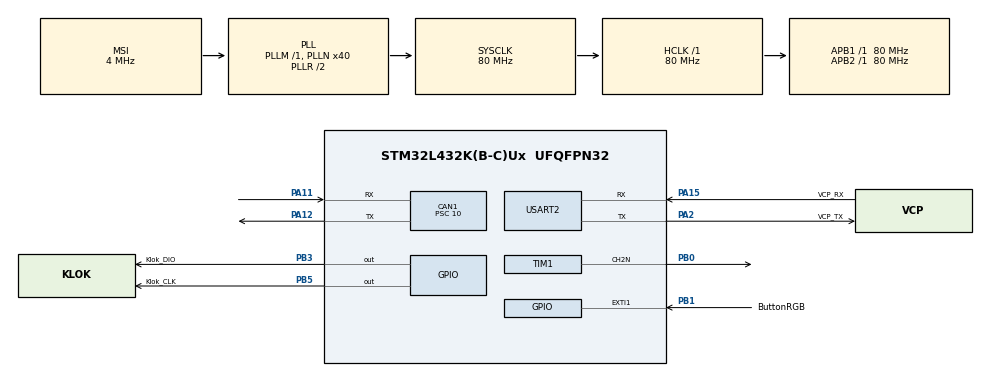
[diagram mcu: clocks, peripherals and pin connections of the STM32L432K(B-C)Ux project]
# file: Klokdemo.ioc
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CAN1.ABOM=DISABLE
CAN1.BS1=CAN_BS1_13TQ
CAN1.BS2=CAN_BS2_2TQ
CAN1.CalculateBaudRate=500000
CAN1.CalculateTimeBit=2000
CAN1.CalculateTimeQuantum=125.0
CAN1.NART=ENABLE
CAN1.Prescaler=10
Mcu.Family=STM32L4
Mcu.Name=STM32L432K(B-C)Ux
Mcu.Package=UFQFPN32
NVIC.CAN1_RX0_IRQn=true\:0\:0\:false\:false\:true\:true\:true\:true
NVIC.EXTI1_IRQn=true\:0\:0\:false\:false\:true\:true\:true\:true
NVIC.PriorityGroup=NVIC_PRIORITYGROUP_4
NVIC.TIM6_DAC_IRQn=true\:0\:0\:false\:false\:true\:true\:true\:true
PA11.GPIO_PuPd=GPIO_NOPULL
PA11.Mode=CAN_Activate
PA11.Signal=CAN1_RX
PA12.Mode=CAN_Activate
PA12.Signal=CAN1_TX
PA13\ (JTMS-SWDIO).GPIO_Label=SWDIO
PA13\ (JTMS-SWDIO).Mode=Serial_Wire
PA13\ (JTMS-SWDIO).Signal=SYS_JTMS-SWDIO
PA14\ (JTCK-SWCLK).GPIO_Label=SWCLK
PA14\ (JTCK-SWCLK).Mode=Serial_Wire
PA14\ (JTCK-SWCLK).Signal=SYS_JTCK-SWCLK
PA15\ (JTDI).GPIO_Label=VCP_RX
PA15\ (JTDI).Mode=Asynchronous
PA15\ (JTDI).Signal=USART2_RX
PA2.GPIO_Label=VCP_TX
PA2.Mode=Asynchronous
PA2.Signal=USART2_TX
PB0.Mode=Output Compare2 CH2N
PB0.Signal=TIM1_CH2N
PB1.GPIO_Label=ButtonRGB
PB1.GPIO_ModeDefaultEXTI=GPIO_MODE_IT_FALLING
PB1.GPIO_PuPd=GPIO_PULLUP
PB1.Signal=GPXTI1
PB3\ (JTDO-TRACESWO).GPIO_Label=Klok_DIO
PB3\ (JTDO-TRACESWO).Signal=GPIO_Output
PB5.GPIO_Label=Klok_CLK
PB5.Signal=GPIO_Output
PC14-OSC32_IN\ (PC14).Mode=LSE-External-Oscillator
PC14-OSC32_IN\ (PC14).Signal=RCC_OSC32_IN
PC15-OSC32_OUT\ (PC15).Mode=LSE-External-Oscillator
PC15-OSC32_OUT\ (PC15).Signal=RCC_OSC32_OUT
ProjectManager.HeapSize=0x200
ProjectManager.StackSize=0x400
ProjectManager.TargetToolchain=STM32CubeIDE
RCC.AHBFreq_Value=80000000
RCC.APB1Freq_Value=80000000
RCC.APB1TimFreq_Value=80000000
RCC.APB2Freq_Value=80000000
RCC.APB2TimFreq_Value=80000000
RCC.CortexFreq_Value=80000000
RCC.HCLKFreq_Value=80000000
RCC.HSE_VALUE=8000000
RCC.HSI16_VALUE=16000000
RCC.HSI48_VALUE=48000000
RCC.HSI_VALUE=16000000
RCC.MSI_VALUE=4000000
RCC.PLLMUL=RCC_PLLMUL_4
RCC.PLLN=40
RCC.SYSCLKFreq_VALUE=80000000
RCC.SYSCLKSource=RCC_SYSCLKSOURCE_PLLCLK
RCC.VCOOutputFreq_Value=160000000
TIM1.Channel-Output\ Compare2\ CH2N=TIM_CHANNEL_2
TIM1.OC2Preload=ENABLE
TIM1.OCMode_2=TIM_OCMODE_TOGGLE
TIM1.Period=5000-1
TIM1.Prescaler=1
TIM6.Period=5000
TIM6.Prescaler=7200-1
USART2.VirtualMode-Asynchronous=VM_ASYNC
VP_RTC_VS_RTC_Activate.Mode=RTC_Enabled
VP_RTC_VS_RTC_Calendar.Mode=RTC_Calendar
VP_TIM1_VS_ClockSourceINT.Mode=Internal
VP_TIM6_VS_ClockSourceINT.Mode=Enable_Timer
board=NUCLEO-L432KC

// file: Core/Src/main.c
/* USER CODE BEGIN Header */
/**
 ******************************************************************************
 * @file           : main.c
 * @brief          : Main program body
 ******************************************************************************
 * @attention
 *
 * Copyright (c) 2026 STMicroelectronics.
 * All rights reserved.
 *
 * This software is licensed under terms that can be found in the LICENSE file
 * in the root directory of this software component.
 * If no LICENSE file comes with this software, it is provided AS-IS.
 *
 ******************************************************************************
 */
/* USER CODE END Header */
#include "main.h"

/* USER CODE BEGIN Includes */
#include "stm32_tm1637.h"
#include <stdio.h>
#include <string.h>

/* USER CODE END Includes */

/* USER CODE BEGIN PD */
#define KLOK_FREQ 32000000
#define NOTE_E 329.63
#define NOTE_A 440
#define NOTE_Fs 370
#define TIJDSDUUR1 100
#define TIJDSDUUR2 150
#define TIJDSDUUR3 200

//E (150)->A (150)->Fis(100)->Stilte(200)

/* USER CODE END PD */

CAN_HandleTypeDef hcan1;

RTC_HandleTypeDef hrtc;

TIM_HandleTypeDef htim1;
TIM_HandleTypeDef htim6;

UART_HandleTypeDef huart2;

/* USER CODE BEGIN PV */
uint8_t state = 0;
CAN_RxHeaderTypeDef rxHeader;
uint8_t rxData[8];
volatile int datacheck = 0;

CAN_TxHeaderTypeDef header; //tx
uint32_t txMailbox;
uint8_t txData[8];
uint32_t mailbox;
uint8_t data[2];

uint8_t showColon = 1;
volatile int displayValue = 8888;
/* USER CODE END PV */

void SystemClock_Config(void);
static void MX_GPIO_Init(void);
static void MX_USART2_UART_Init(void);
static void MX_RTC_Init(void);
static void MX_TIM6_Init(void);
static void MX_CAN1_Init(void);
static void MX_TIM1_Init(void);
/* USER CODE BEGIN PFP */
void speelNoot(double freq, int d);
/* USER CODE END PFP */

int main(void)
{

  /* MCU Configuration--------------------------------------------------------*/

  /* Reset of all peripherals, Initializes the Flash interface and the Systick. */
  HAL_Init();

  /* Configure the system clock */
  SystemClock_Config();

  /* Initialize all configured peripherals */
  MX_GPIO_Init();
  MX_USART2_UART_Init();
  MX_RTC_Init();
  MX_TIM6_Init();
  MX_CAN1_Init();
  MX_TIM1_Init();
  /* USER CODE BEGIN 2 */
	//tm1637Init(); //DO NOT UNCOMMENT, THIS WILL BREAK THE CLOCK
	tm1637SetBrightness(8); //DO NOT THINK ABOUT IT

	HAL_TIM_Base_Start_IT(&htim6);

	CAN_FilterTypeDef filter;

	filter.FilterBank = 0;
	filter.FilterMode = CAN_FILTERMODE_IDMASK;
	filter.FilterScale = CAN_FILTERSCALE_32BIT;
	filter.FilterIdHigh = 0;
	filter.FilterIdLow = 0;
	filter.FilterMaskIdHigh = 0;
	filter.FilterMaskIdLow = 0;
	filter.FilterFIFOAssignment = CAN_FILTER_FIFO0;
	filter.FilterActivation = ENABLE;

	HAL_CAN_ConfigFilter(&hcan1, &filter);
	HAL_CAN_Start(&hcan1);
	if (HAL_CAN_ActivateNotification(&hcan1, CAN_IT_RX_FIFO0_MSG_PENDING)
			!= HAL_OK) {
		Error_Handler();
	}
	HAL_TIMEx_PWMN_Start(&htim1, TIM_CHANNEL_2);
	__HAL_TIM_SET_AUTORELOAD(&htim1, 0);

	  HAL_UART_Transmit(&huart2, "Voor while", 10, HAL_MAX_DELAY);

	  	    header.StdId = 430;
	  	    header.IDE = CAN_ID_STD;
	  	    header.RTR = CAN_RTR_DATA;
	  	    header.DLC = 2;
	  	  data[0] = 0x11;
	  	  data[1] = 0x12;

	  	/*HAL_Delay(1000);
	  	HAL_CAN_Stop(&hcan1);
	  	HAL_Delay(1000);
	  	HAL_CAN_DeInit(&hcan1);
	  	HAL_Delay(1000);
	  	__HAL_RCC_CAN1_FORCE_RESET();
	  	HAL_Delay(1000);
	  	__HAL_RCC_CAN1_RELEASE_RESET();
	  	HAL_Delay(1000);
	  	HAL_CAN_Init(&hcan1);
	  	HAL_Delay(1000);
	  	HAL_CAN_Start(&hcan1);
	  	HAL_Delay(1000);*/
  /* USER CODE END 2 */

  /* Infinite loop */
  /* USER CODE BEGIN WHILE */
	while (1) {
		/*uint32_t esr = hcan1.Instance->ESR;

		uint8_t tec = (esr >> 16) & 0xFF;  // Transmit Error Counter
		uint8_t rec = (esr >> 24) & 0xFF;  // Receive Error Counter

		char msg[20] = "";
		sprintf(msg, "%d\r\n", tec);

		HAL_UART_Transmit(&huart2, msg, strlen(msg), HAL_MAX_DELAY);

		HAL_UART_Transmit(&huart2, "Button ingedrukt\r\n", 18, HAL_MAX_DELAY);
		            if (HAL_CAN_GetTxMailboxesFreeLevel(&hcan1) > 0) {
		                if (HAL_CAN_AddTxMessage(&hcan1, &header, data, &mailbox) != HAL_OK) {
		                    Error_Handler();
		                } else {
		                    char msg[] = "CAN verstuurd!\r\n";
		                    HAL_UART_Transmit(&huart2, (uint8_t*)msg, strlen(msg), HAL_MAX_DELAY);
		                }
		            } else {
		                HAL_UART_Transmit(&huart2, "Mailbox vol!\r\n", 14, HAL_MAX_DELAY);
		            }*/
		// = 6660;
		//tm1637DisplayDecimal(displayValue, showColon);
		//showColon = !showColon;
		HAL_Delay(500);
    /* USER CODE END WHILE */

    /* USER CODE BEGIN 3 */
		RTC_TimeTypeDef nowTime;
		RTC_DateTypeDef nowDate;

		HAL_RTC_GetTime(&hrtc, &nowTime, RTC_FORMAT_BIN);
		HAL_RTC_GetDate(&hrtc, &nowDate, RTC_FORMAT_BIN);

		int hours = nowTime.Hours;
		int minutes = nowTime.Minutes;
		displayValue = hours * 100 + minutes;

		char msg[20] = "";
		sprintf(msg, "%d\r\n", displayValue);

		HAL_UART_Transmit(&huart2, msg, strlen(msg), HAL_MAX_DELAY);
		tm1637DisplayDecimal(displayValue, showColon);

		showColon = !showColon;
    //comment

		if (datacheck) {
			datacheck = 0;
			if (rxHeader.StdId == 410) {//Klok
				RTC_TimeTypeDef setTime = {0};

				setTime.Hours   = rxData[0];
				setTime.Minutes = rxData[1];
				setTime.Seconds = 0;

				if (HAL_RTC_SetTime(&hrtc, &setTime, RTC_FORMAT_BIN) != HAL_OK)
				{
				    Error_Handler();
				}
			} else if(rxHeader.StdId == 420) {//buzzer
				  speelNoot(NOTE_E,TIJDSDUUR2);
				  HAL_Delay(TIJDSDUUR3);
				  speelNoot(NOTE_A,TIJDSDUUR2);
				  HAL_Delay(TIJDSDUUR3);
				  speelNoot(NOTE_Fs,TIJDSDUUR1);
				  speelNoot(NOTE_E,TIJDSDUUR2);
				  HAL_Delay(TIJDSDUUR3);
				  speelNoot(NOTE_A,TIJDSDUUR2);
				  HAL_Delay(TIJDSDUUR3);
				  speelNoot(NOTE_Fs,TIJDSDUUR1);
				  speelNoot(NOTE_E,TIJDSDUUR2);
				  HAL_Delay(TIJDSDUUR3);
				  speelNoot(NOTE_A,TIJDSDUUR2);
				  HAL_Delay(TIJDSDUUR3);
				  speelNoot(NOTE_Fs,TIJDSDUUR1);
				  speelNoot(NOTE_E,TIJDSDUUR2);
				  HAL_Delay(TIJDSDUUR3);
				  speelNoot(NOTE_A,TIJDSDUUR2);
				  HAL_Delay(TIJDSDUUR3);
				  speelNoot(NOTE_Fs,TIJDSDUUR1);

			}
		}
	}
  /* USER CODE END 3 */
}

void SystemClock_Config(void)
{
  RCC_OscInitTypeDef RCC_OscInitStruct = {0};
  RCC_ClkInitTypeDef RCC_ClkInitStruct = {0};

  /** Configure the main internal regulator output voltage
  */
  if (HAL_PWREx_ControlVoltageScaling(PWR_REGULATOR_VOLTAGE_SCALE1) != HAL_OK)
  {
    Error_Handler();
  }

  /** Configure LSE Drive Capability
  */
  HAL_PWR_EnableBkUpAccess();
  __HAL_RCC_LSEDRIVE_CONFIG(RCC_LSEDRIVE_LOW);

  /** Initializes the RCC Oscillators according to the specified parameters
  * in the RCC_OscInitTypeDef structure.
  */
  RCC_OscInitStruct.OscillatorType = RCC_OSCILLATORTYPE_LSI|RCC_OSCILLATORTYPE_LSE
                              |RCC_OSCILLATORTYPE_MSI;
  RCC_OscInitStruct.LSEState = RCC_LSE_ON;
  RCC_OscInitStruct.LSIState = RCC_LSI_ON;
  RCC_OscInitStruct.MSIState = RCC_MSI_ON;
  RCC_OscInitStruct.MSICalibrationValue = 0;
  RCC_OscInitStruct.MSIClockRange = RCC_MSIRANGE_6;
  RCC_OscInitStruct.PLL.PLLState = RCC_PLL_ON;
  RCC_OscInitStruct.PLL.PLLSource = RCC_PLLSOURCE_MSI;
  RCC_OscInitStruct.PLL.PLLM = 1;
  RCC_OscInitStruct.PLL.PLLN = 40;
  RCC_OscInitStruct.PLL.PLLP = RCC_PLLP_DIV7;
  RCC_OscInitStruct.PLL.PLLQ = RCC_PLLQ_DIV2;
  RCC_OscInitStruct.PLL.PLLR = RCC_PLLR_DIV2;
  if (HAL_RCC_OscConfig(&RCC_OscInitStruct) != HAL_OK)
  {
    Error_Handler();
  }

  /** Initializes the CPU, AHB and APB buses clocks
  */
  RCC_ClkInitStruct.ClockType = RCC_CLOCKTYPE_HCLK|RCC_CLOCKTYPE_SYSCLK
                              |RCC_CLOCKTYPE_PCLK1|RCC_CLOCKTYPE_PCLK2;
  RCC_ClkInitStruct.SYSCLKSource = RCC_SYSCLKSOURCE_PLLCLK;
  RCC_ClkInitStruct.AHBCLKDivider = RCC_SYSCLK_DIV1;
  RCC_ClkInitStruct.APB1CLKDivider = RCC_HCLK_DIV1;
  RCC_ClkInitStruct.APB2CLKDivider = RCC_HCLK_DIV1;

  if (HAL_RCC_ClockConfig(&RCC_ClkInitStruct, FLASH_LATENCY_4) != HAL_OK)
  {
    Error_Handler();
  }

  /** Enable MSI Auto calibration
  */
  HAL_RCCEx_EnableMSIPLLMode();
}

static void MX_CAN1_Init(void)
{

  hcan1.Instance = CAN1;
  hcan1.Init.Prescaler = 10;
  hcan1.Init.Mode = CAN_MODE_NORMAL;
  hcan1.Init.SyncJumpWidth = CAN_SJW_1TQ;
  hcan1.Init.TimeSeg1 = CAN_BS1_13TQ;
  hcan1.Init.TimeSeg2 = CAN_BS2_2TQ;
  hcan1.Init.TimeTriggeredMode = DISABLE;
  hcan1.Init.AutoBusOff = DISABLE;
  hcan1.Init.AutoWakeUp = DISABLE;
  hcan1.Init.AutoRetransmission = ENABLE;
  hcan1.Init.ReceiveFifoLocked = DISABLE;
  hcan1.Init.TransmitFifoPriority = DISABLE;
  if (HAL_CAN_Init(&hcan1) != HAL_OK)
  {
    Error_Handler();
  }

}

static void MX_RTC_Init(void)
{

  RTC_TimeTypeDef sTime = {0};
  RTC_DateTypeDef sDate = {0};

  /** Initialize RTC Only
  */
  hrtc.Instance = RTC;
  hrtc.Init.HourFormat = RTC_HOURFORMAT_24;
  hrtc.Init.AsynchPrediv = 127;
  hrtc.Init.SynchPrediv = 255;
  hrtc.Init.OutPut = RTC_OUTPUT_DISABLE;
  hrtc.Init.OutPutRemap = RTC_OUTPUT_REMAP_NONE;
  hrtc.Init.OutPutPolarity = RTC_OUTPUT_POLARITY_HIGH;
  hrtc.Init.OutPutType = RTC_OUTPUT_TYPE_OPENDRAIN;
  if (HAL_RTC_Init(&hrtc) != HAL_OK)
  {
    Error_Handler();
  }

  /** Initialize RTC and set the Time and Date
  */
  sTime.Hours = 0x0;
  sTime.Minutes = 0x0;
  sTime.Seconds = 0x0;
  sTime.DayLightSaving = RTC_DAYLIGHTSAVING_NONE;
  sTime.StoreOperation = RTC_STOREOPERATION_RESET;
  if (HAL_RTC_SetTime(&hrtc, &sTime, RTC_FORMAT_BCD) != HAL_OK)
  {
    Error_Handler();
  }
  sDate.WeekDay = RTC_WEEKDAY_MONDAY;
  sDate.Month = RTC_MONTH_JANUARY;
  sDate.Date = 0x1;
  sDate.Year = 0x0;

  if (HAL_RTC_SetDate(&hrtc, &sDate, RTC_FORMAT_BCD) != HAL_OK)
  {
    Error_Handler();
  }

}

static void MX_TIM1_Init(void)
{

  TIM_ClockConfigTypeDef sClockSourceConfig = {0};
  TIM_MasterConfigTypeDef sMasterConfig = {0};
  TIM_OC_InitTypeDef sConfigOC = {0};
  TIM_BreakDeadTimeConfigTypeDef sBreakDeadTimeConfig = {0};

  htim1.Instance = TIM1;
  htim1.Init.Prescaler = 1;
  htim1.Init.CounterMode = TIM_COUNTERMODE_UP;
  htim1.Init.Period = 5000-1;
  htim1.Init.ClockDivision = TIM_CLOCKDIVISION_DIV1;
  htim1.Init.RepetitionCounter = 0;
  htim1.Init.AutoReloadPreload = TIM_AUTORELOAD_PRELOAD_DISABLE;
  if (HAL_TIM_Base_Init(&htim1) != HAL_OK)
  {
    Error_Handler();
  }
  sClockSourceConfig.ClockSource = TIM_CLOCKSOURCE_INTERNAL;
  if (HAL_TIM_ConfigClockSource(&htim1, &sClockSourceConfig) != HAL_OK)
  {
    Error_Handler();
  }
  if (HAL_TIM_OC_Init(&htim1) != HAL_OK)
  {
    Error_Handler();
  }
  sMasterConfig.MasterOutputTrigger = TIM_TRGO_RESET;
  sMasterConfig.MasterOutputTrigger2 = TIM_TRGO2_RESET;
  sMasterConfig.MasterSlaveMode = TIM_MASTERSLAVEMODE_DISABLE;
  if (HAL_TIMEx_MasterConfigSynchronization(&htim1, &sMasterConfig) != HAL_OK)
  {
    Error_Handler();
  }
  sConfigOC.OCMode = TIM_OCMODE_TOGGLE;
  sConfigOC.Pulse = 0;
  sConfigOC.OCPolarity = TIM_OCPOLARITY_HIGH;
  sConfigOC.OCNPolarity = TIM_OCNPOLARITY_HIGH;
  sConfigOC.OCFastMode = TIM_OCFAST_DISABLE;
  sConfigOC.OCIdleState = TIM_OCIDLESTATE_RESET;
  sConfigOC.OCNIdleState = TIM_OCNIDLESTATE_RESET;
  if (HAL_TIM_OC_ConfigChannel(&htim1, &sConfigOC, TIM_CHANNEL_2) != HAL_OK)
  {
    Error_Handler();
  }
  __HAL_TIM_ENABLE_OCxPRELOAD(&htim1, TIM_CHANNEL_2);
  sBreakDeadTimeConfig.OffStateRunMode = TIM_OSSR_DISABLE;
  sBreakDeadTimeConfig.OffStateIDLEMode = TIM_OSSI_DISABLE;
  sBreakDeadTimeConfig.LockLevel = TIM_LOCKLEVEL_OFF;
  sBreakDeadTimeConfig.DeadTime = 0;
  sBreakDeadTimeConfig.BreakState = TIM_BREAK_DISABLE;
  sBreakDeadTimeConfig.BreakPolarity = TIM_BREAKPOLARITY_HIGH;
  sBreakDeadTimeConfig.BreakFilter = 0;
  sBreakDeadTimeConfig.Break2State = TIM_BREAK2_DISABLE;
  sBreakDeadTimeConfig.Break2Polarity = TIM_BREAK2POLARITY_HIGH;
  sBreakDeadTimeConfig.Break2Filter = 0;
  sBreakDeadTimeConfig.AutomaticOutput = TIM_AUTOMATICOUTPUT_DISABLE;
  if (HAL_TIMEx_ConfigBreakDeadTime(&htim1, &sBreakDeadTimeConfig) != HAL_OK)
  {
    Error_Handler();
  }
  HAL_TIM_MspPostInit(&htim1);

}

static void MX_TIM6_Init(void)
{

  TIM_MasterConfigTypeDef sMasterConfig = {0};

  htim6.Instance = TIM6;
  htim6.Init.Prescaler = 7200-1;
  htim6.Init.CounterMode = TIM_COUNTERMODE_UP;
  htim6.Init.Period = 5000;
  htim6.Init.AutoReloadPreload = TIM_AUTORELOAD_PRELOAD_DISABLE;
  if (HAL_TIM_Base_Init(&htim6) != HAL_OK)
  {
    Error_Handler();
  }
  sMasterConfig.MasterOutputTrigger = TIM_TRGO_RESET;
  sMasterConfig.MasterSlaveMode = TIM_MASTERSLAVEMODE_DISABLE;
  if (HAL_TIMEx_MasterConfigSynchronization(&htim6, &sMasterConfig) != HAL_OK)
  {
    Error_Handler();
  }

}

static void MX_USART2_UART_Init(void)
{

  huart2.Instance = USART2;
  huart2.Init.BaudRate = 115200;
  huart2.Init.WordLength = UART_WORDLENGTH_8B;
  huart2.Init.StopBits = UART_STOPBITS_1;
  huart2.Init.Parity = UART_PARITY_NONE;
  huart2.Init.Mode = UART_MODE_TX_RX;
  huart2.Init.HwFlowCtl = UART_HWCONTROL_NONE;
  huart2.Init.OverSampling = UART_OVERSAMPLING_16;
  huart2.Init.OneBitSampling = UART_ONE_BIT_SAMPLE_DISABLE;
  huart2.AdvancedInit.AdvFeatureInit = UART_ADVFEATURE_NO_INIT;
  if (HAL_UART_Init(&huart2) != HAL_OK)
  {
    Error_Handler();
  }

}

static void MX_GPIO_Init(void)
{
  GPIO_InitTypeDef GPIO_InitStruct = {0};

  /* GPIO Ports Clock Enable */
  __HAL_RCC_GPIOC_CLK_ENABLE();
  __HAL_RCC_GPIOA_CLK_ENABLE();
  __HAL_RCC_GPIOB_CLK_ENABLE();

  /*Configure GPIO pin Output Level */
  HAL_GPIO_WritePin(GPIOB, Klok_DIO_Pin|Klok_CLK_Pin, GPIO_PIN_RESET);

  /*Configure GPIO pin : ButtonRGB_Pin */
  GPIO_InitStruct.Pin = ButtonRGB_Pin;
  GPIO_InitStruct.Mode = GPIO_MODE_IT_FALLING;
  GPIO_InitStruct.Pull = GPIO_PULLUP;
  HAL_GPIO_Init(ButtonRGB_GPIO_Port, &GPIO_InitStruct);

  /*Configure GPIO pins : Klok_DIO_Pin Klok_CLK_Pin */
  GPIO_InitStruct.Pin = Klok_DIO_Pin|Klok_CLK_Pin;
  GPIO_InitStruct.Mode = GPIO_MODE_OUTPUT_PP;
  GPIO_InitStruct.Pull = GPIO_NOPULL;
  GPIO_InitStruct.Speed = GPIO_SPEED_FREQ_LOW;
  HAL_GPIO_Init(GPIOB, &GPIO_InitStruct);

  /* EXTI interrupt init*/
  HAL_NVIC_SetPriority(EXTI1_IRQn, 0, 0);
  HAL_NVIC_EnableIRQ(EXTI1_IRQn);

}

/* USER CODE BEGIN 4 */
void HAL_CAN_RxFifo0MsgPendingCallback(CAN_HandleTypeDef *hcan) {
	if (HAL_CAN_GetRxMessage(hcan, CAN_RX_FIFO0, &rxHeader, rxData) != HAL_OK) {
		Error_Handler();
	}
	if ((rxHeader.StdId == 410 && rxHeader.RTR == 0)||(rxHeader.StdId == 420 && rxHeader.RTR == 0)) {
		datacheck = 1;
	}
	//datacheck = 1;
	//displayValue = rxHeader.StdId;
}

void speelNoot(double n,int d)
{
	if (n == NOTE_E) {
		__HAL_TIM_SET_AUTORELOAD(&htim1, 24269);

	}
	if (n == NOTE_A){
		__HAL_TIM_SET_AUTORELOAD(&htim1, 18181);
	}
	if (n == NOTE_Fs){
		__HAL_TIM_SET_AUTORELOAD(&htim1, 21621);
		}

	HAL_Delay(d);
	__HAL_TIM_SET_AUTORELOAD(&htim1, 0);
}

void HAL_GPIO_EXTI_Callback(uint16_t GPIO_Pin)//interrupt voor de button
{
    if (GPIO_Pin == ButtonRGB_Pin)
    {
        static uint32_t lastPress = 0;
        uint32_t now = HAL_GetTick();

        if (now - lastPress > 200) // 200ms debounce
        {
            lastPress = now;
            HAL_UART_Transmit(&huart2, "Button ingedrukt\r\n", 18, HAL_MAX_DELAY);
            if (HAL_CAN_GetTxMailboxesFreeLevel(&hcan1) > 0) {
                if (HAL_CAN_AddTxMessage(&hcan1, &header, data, &mailbox) != HAL_OK) {
                    Error_Handler();
                } else {
                    char msg[] = "CAN verstuurd!\r\n";
                    HAL_UART_Transmit(&huart2, (uint8_t*)msg, strlen(msg), HAL_MAX_DELAY);
                }
            } else {
                HAL_UART_Transmit(&huart2, "Mailbox vol!\r\n", 14, HAL_MAX_DELAY);
            }
        }
    }
}

/* USER CODE END 4 */

void Error_Handler(void)
{
	__disable_irq();
	while (1) {
	}
}
